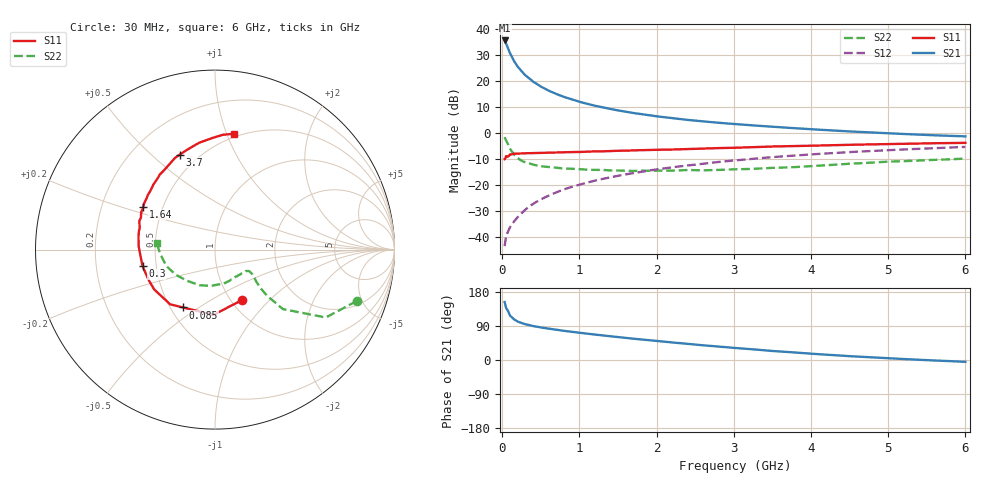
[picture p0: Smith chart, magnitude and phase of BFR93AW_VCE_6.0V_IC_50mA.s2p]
! Infineon Technologies  Discrete & RF Semiconductors
! BFR93AW
! VCE =  6.0 V,  IC =  50 mA
! Common Emitter S-Parameters:  Nov 2015
# GHz  S  MA  R  50
!  f  S11  S21  S12  S22
! GHz  MAG  ANG  MAG  ANG  MAG  ANG  MAG  ANG
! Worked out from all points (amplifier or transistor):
!   206 points, 30 MHz to 6 GHz, reference 50 ohm
!   highest |S21| = 35.6 dB at 30 MHz (marker M1)
!   |S21| within 3 dB of that: start of sweep to 74.55 MHz
!   unconditionally stable (mu >= 1): 382.2 MHz to 2.154 GHz
!   at 200 MHz: K = 0.89, MSG = 28.9 dB, |S12| = -32.2 dB
!   at 1.56 GHz: K = 1.04, MAG = 11.1 dB, |S12| = -16.0 dB
!   at 6 GHz: K = 0.90, MSG = 2.0 dB, |S12| = -5.2 dB
!   S11 on the Smith chart (normalised r, x): 30 MHz: 1.12, -0.70; 85 MHz: 0.58, -0.43; 300 MHz: 0.42, -0.09; 1.64 GHz: 0.39, +0.24; 3.7 GHz: 0.40, +0.62; 6 GHz: 0.47, +1.06
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0.03  0.3187 -61.8  60.5 152.9  0.0068 74.7  0.8403 -20.0
0.05  0.3638 -91.3  52.25 136.7  0.0105 67.3  0.7239 -31.5
0.085  0.3682 -118.9  39.14 124.6  0.0141 67.0  0.5679 -37.5
0.1  0.3944 -129.4  34.34 116.8  0.0157 67.0  0.5038 -41.2
0.15  0.405 -146.8  24.49 107.2  0.02 67.3  0.391 -41.6
0.2  0.4066 -155.7  18.94 101.3  0.0246 69.2  0.3333 -40.3
0.24  0.4089 -161.6  16.05 98.2  0.0282 71.0  0.3034 -38.6
0.26  0.4108 -163.9  14.85 96.8  0.0301 71.7  0.2921 -37.8
0.3  0.4142 -167.2  12.89 94.2  0.0343 72.6  0.2764 -36.4
0.4  0.4164 -174.4  9.761 89.5  0.0442 74.4  0.2496 -33.5
0.5  0.4216 -179.7  7.873 85.7  0.0538 75.3  0.2324 -32.5
0.6  0.4265 176.8  6.587 82.6  0.0634 75.1  0.2245 -32.2
0.8  0.4331 169.9  4.979 76.9  0.0837 75.2  0.2097 -34.5
1.04  0.4397 162.8  3.88 70.9  0.1071 73.9  0.2027 -38.4
1.3  0.4495 156.6  3.139 64.9  0.1331 72.1  0.198 -43.9
1.64  0.4657 149.0  2.531 57.4  0.1664 69.8  0.1894 -54.3
2.02  0.4822 140.8  2.099 49.7  0.2041 66.6  0.1919 -66.3
3.1  0.5317 120.4  1.469 30.5  0.3095 56.4  0.2043 -99.5
3.7  0.5641 110.3  1.276 21.1  0.3661 50.1  0.221 -121.8
4.1  0.5817 104.1  1.172 15.3  0.4016 45.9  0.2383 -135.9
5.1  0.6234 90.9  0.984 3.5  0.4817 35.1  0.288 -164.0
6  0.6543 80.6  0.872 -4.9  0.5471 25.7  0.3269 173.8
